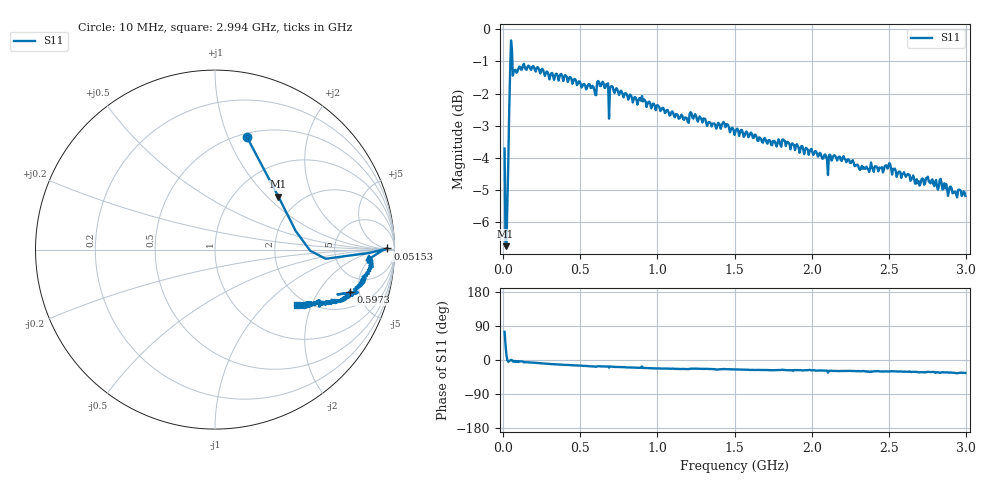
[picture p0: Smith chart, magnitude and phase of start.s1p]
# HZ S RI R 50
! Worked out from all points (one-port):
!   504 points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, 10 MHz to 2.994 GHz, reference 50 ohm
!   lowest |S11| = -6.7 dB at 15.93 MHz (marker M1), VSWR 2.70, Z = 78.2 + j58.3 ohm
!   |S11| at or under -10 dB: nowhere
!   S11 on the Smith chart (normalised r, x): 10 MHz: 0.54, +1.17; 51.53 MHz: 48, +8; 597.3 MHz: 3.21, -4.06; 2.994 GHz: 1.78, -1.58
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1e7  0.1774 0.6278
1.593254e7  0.3537 0.2942
2.779762e7  0.531 -0.00681
3.373016e7  0.6169 -0.0513
4.559524e7  0.8563 -0.0195
5.152778e7  0.9604 0.00616
6.339286e7  0.8446 -0.061
7.525794e7  0.8608 -0.069
1.167857e8  0.8631 -0.0543
1.464484e8  0.8619 -0.0872
1.820437e8  0.8586 -0.1001
3.8375e8  0.8251 -0.1806
5.973215e8  0.7539 -0.2372
6.210516e8  0.7931 -0.2385
6.685119e8  0.7845 -0.2428
6.744445e8  0.7854 -0.2446
7.041072e8  0.7774 -0.2472
7.575e8  0.757 -0.2576
1.13125e9  0.6749 -0.2924
1.190575e9  0.6649 -0.2943
1.220238e9  0.6824 -0.2871
1.505e9  0.6289 -0.2916
1.87875e9  0.5808 -0.3175
1.985536e9  0.5815 -0.2815
2.104187e9  0.4955 -0.3265
2.2525e9  0.5433 -0.2976
2.62625e9  0.5088 -0.3058
2.994068e9  0.4554 -0.3096
